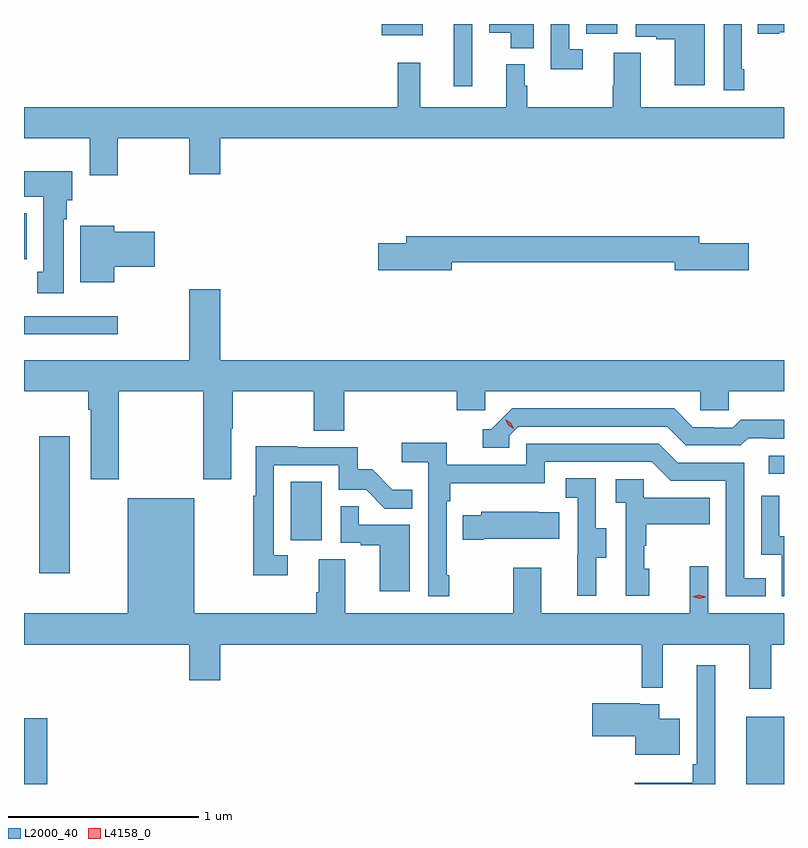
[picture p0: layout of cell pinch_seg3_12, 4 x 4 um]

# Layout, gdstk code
import gdstk
lib = gdstk.Library(unit=1e-6, precision=1e-09)
def R(c, l, rs):  # rectangles x0, y0, x1, y1
    for r in rs: c.add(gdstk.rectangle(r[:2], r[2:], *l))
def P(c, l, *ps):  # polygons
    for p in ps: c.add(gdstk.Polygon(p, *l))
L2000_40 = (2000, 40)
L4158_0 = (4158, 0)

pinch_seg3_12 = lib.new_cell('pinch_seg3_12')
R(pinch_seg3_12, L2000_40, [(1123.178,738.81,1123.301,739.155), (1126.979,738.81,1127.178,739.165), (1123.259,739.92,1123.42,740.641), (1124.582,740.094,1124.746,740.401), (1127.097,740.442,1127.178,740.538), (1123.178,741.176,1123.672,741.273), (1123.178,741.572,1123.192,741.814), (1125.44,742.482,1125.537,742.81), (1125.062,742.751,1125.277,742.81), (1126.136,742.758,1126.3,742.81)])
P(pinch_seg3_12, L2000_40, [(1127.152,742.766),(1127.178,742.766),(1127.178,742.81),(1127.041,742.81),(1127.041,742.759),(1127.152,742.759)],
  [(1126.12,742.677),(1126.047,742.677),(1126.047,742.81),(1125.951,742.81),(1125.951,742.572),(1126.12,742.572)],
  [(1126.969,742.573),(1126.956,742.573),(1126.956,742.81),(1126.86,742.81),(1126.86,742.461),(1126.969,742.461)],
  [(1126.762,742.81),(1126.398,742.81),(1126.398,742.743),(1126.505,742.743),(1126.505,742.731),(1126.604,742.731),(1126.604,742.488),(1126.762,742.488)],
  [(1125.862,742.81),(1125.626,742.81),(1125.626,742.763),(1125.74,742.763),(1125.74,742.682),(1125.862,742.682)],
  [(1123.671,742.208),(1124.048,742.208),(1124.048,742.02),(1124.212,742.02),(1124.212,742.208),(1127.178,742.208),(1127.178,742.372),(1126.423,742.372),(1126.423,742.658),(1126.283,742.658),(1126.283,742.484),(1126.276,742.484),(1126.276,742.372),(1125.826,742.372),(1125.826,742.484),(1125.814,742.484),(1125.814,742.597),(1125.716,742.597),(1125.716,742.372),(1125.263,742.372),(1125.263,742.606),(1125.145,742.606),(1125.145,742.372),(1123.178,742.372),(1123.178,742.208),(1123.523,742.208),(1123.523,742.014),(1123.671,742.014)],
  [(1123.387,741.782),(1123.402,741.782),(1123.402,741.882),(1123.432,741.882),(1123.432,742.036),(1123.178,742.036),(1123.178,741.902),(1123.28,741.902),(1123.28,741.506),(1123.247,741.506),(1123.247,741.393),(1123.387,741.393)],
  [(1123.654,741.533),(1123.867,741.533),(1123.867,741.716),(1123.654,741.716),(1123.654,741.748),(1123.475,741.748),(1123.475,741.452),(1123.654,741.452)],
  [(1125.43,741.556),(1126.604,741.556),(1126.604,741.514),(1126.993,741.514),(1126.993,741.656),(1126.732,741.656),(1126.732,741.692),(1125.191,741.692),(1125.191,741.656),(1125.042,741.656),(1125.042,741.514),(1125.43,741.514)],
  [(1123.677,740.876),(1124.122,740.876),(1124.122,740.415),(1124.269,740.415),(1124.269,740.68),(1124.277,740.68),(1124.277,740.876),(1124.704,740.876),(1124.704,740.668),(1124.864,740.668),(1124.864,740.876),(1125.455,740.876),(1125.455,740.778),(1125.606,740.778),(1125.606,740.876),(1126.737,740.876),(1126.737,740.778),(1126.887,740.778),(1126.887,740.876),(1127.178,740.876),(1127.178,741.04),(1124.212,741.04),(1124.212,741.415),(1124.048,741.415),(1124.048,741.04),(1123.178,741.04),(1123.178,740.876),(1123.517,740.876),(1123.517,740.78),(1123.529,740.78),(1123.529,740.415),(1123.677,740.415)],
  [(1125.732,740.643),(1125.78,740.691),(1126.563,740.691),(1126.662,740.592),(1126.951,740.592),(1126.99,740.631),(1127.089,740.631),(1127.089,740.628),(1127.178,740.628),(1127.178,740.728),(1126.951,740.728),(1126.909,740.685),(1126.806,740.685),(1126.806,740.688),(1126.699,740.688),(1126.6,740.787),(1125.747,740.787),(1125.636,740.676),(1125.593,740.676),(1125.593,740.58),(1125.732,740.58)],
  [(1125.415,739.909),(1125.402,739.909),(1125.402,740.297),(1125.422,740.297),(1125.422,740.393),(1125.918,740.393),(1125.918,740.505),(1126.482,740.505),(1126.581,740.406),(1126.872,740.406),(1126.872,739.797),(1127.081,739.797),(1127.081,739.893),(1126.968,739.893),(1126.968,740.502),(1126.618,740.502),(1126.519,740.601),(1125.822,740.601),(1125.822,740.49),(1125.404,740.49),(1125.404,740.606),(1125.165,740.606),(1125.165,740.504),(1125.306,740.504),(1125.306,739.797),(1125.415,739.797)],
  [(1124.566,740.013),(1124.493,740.013),(1124.493,740.487),(1124.835,740.487),(1124.835,740.358),(1124.979,740.358),(1125.077,740.26),(1125.221,740.26),(1125.221,740.359),(1125.117,740.359),(1125.01,740.466),(1124.934,740.466),(1124.934,740.583),(1124.615,740.583),(1124.615,740.588),(1124.397,740.588),(1124.397,740.327),(1124.385,740.327),(1124.385,739.908),(1124.566,739.908)],
  [(1126.189,740.002),(1126.243,740.002),(1126.243,740.157),(1126.188,740.157),(1126.188,740.42),(1126.029,740.42),(1126.029,740.317),(1126.092,740.317),(1126.092,740.013),(1126.091,740.013),(1126.091,739.8),(1126.189,739.8)],
  [(1126.468,739.944),(1126.443,739.944),(1126.443,740.063),(1126.453,740.063),(1126.453,740.177),(1126.787,740.177),(1126.787,740.317),(1126.44,740.317),(1126.44,740.415),(1126.293,740.415),(1126.293,740.291),(1126.344,740.291),(1126.344,739.8),(1126.468,739.8)],
  [(1127.178,740.114),(1127.154,740.114),(1127.154,740.326),(1127.058,740.326),(1127.058,740.016),(1127.166,740.016),(1127.166,739.797),(1127.178,739.797)],
  [(1127.111,739.544),(1127.178,739.544),(1127.178,739.708),(1126.779,739.708),(1126.779,739.957),(1126.682,739.957),(1126.682,739.708),(1125.901,739.708),(1125.901,739.948),(1125.754,739.948),(1125.754,739.708),(1124.869,739.708),(1124.869,739.994),(1124.729,739.994),(1124.729,739.82),(1124.717,739.82),(1124.717,739.708),(1124.074,739.708),(1124.074,740.314),(1123.724,740.314),(1123.724,739.708),(1123.178,739.708),(1123.178,739.544),(1124.048,739.544),(1124.048,739.356),(1124.212,739.356),(1124.212,739.544),(1126.428,739.544),(1126.428,739.316),(1126.541,739.316),(1126.541,739.544),(1126.994,739.544),(1126.994,739.311),(1127.111,739.311)],
  [(1125.208,740.175),(1124.939,740.175),(1124.939,740.273),(1124.844,740.273),(1124.844,740.079),(1124.951,740.079),(1124.951,740.067),(1125.05,740.067),(1125.05,739.824),(1125.208,739.824)],
  [(1125.598,740.102),(1125.995,740.102),(1125.995,740.239),(1125.887,740.239),(1125.887,740.242),(1125.585,740.242),(1125.585,740.224),(1125.487,740.224),(1125.487,740.095),(1125.598,740.095)],
  [(1126.816,739.435),(1126.719,739.435),(1126.719,738.913),(1126.699,738.913),(1126.699,738.817),(1126.392,738.817),(1126.392,738.81),(1126.816,738.81)],
  [(1126.63,739.153),(1126.522,739.153),(1126.522,739.231),(1126.418,739.231),(1126.418,739.236),(1126.17,739.236),(1126.17,739.061),(1126.394,739.061),(1126.394,738.965),(1126.63,738.965)])
P(pinch_seg3_12, L4158_0, [(1126.732,739.785),(1126.696,739.795),(1126.696,739.795),(1126.696,739.796),(1126.732,739.805),(1126.767,739.795),(1126.767,739.794),(1126.767,739.794)],
  [(1125.757,740.678),(1125.726,740.698),(1125.71,740.73),(1125.71,740.731),(1125.711,740.731),(1125.741,740.711),(1125.758,740.678),(1125.758,740.678)])

lib.write_gds('pinch_seg3_12.gds')
